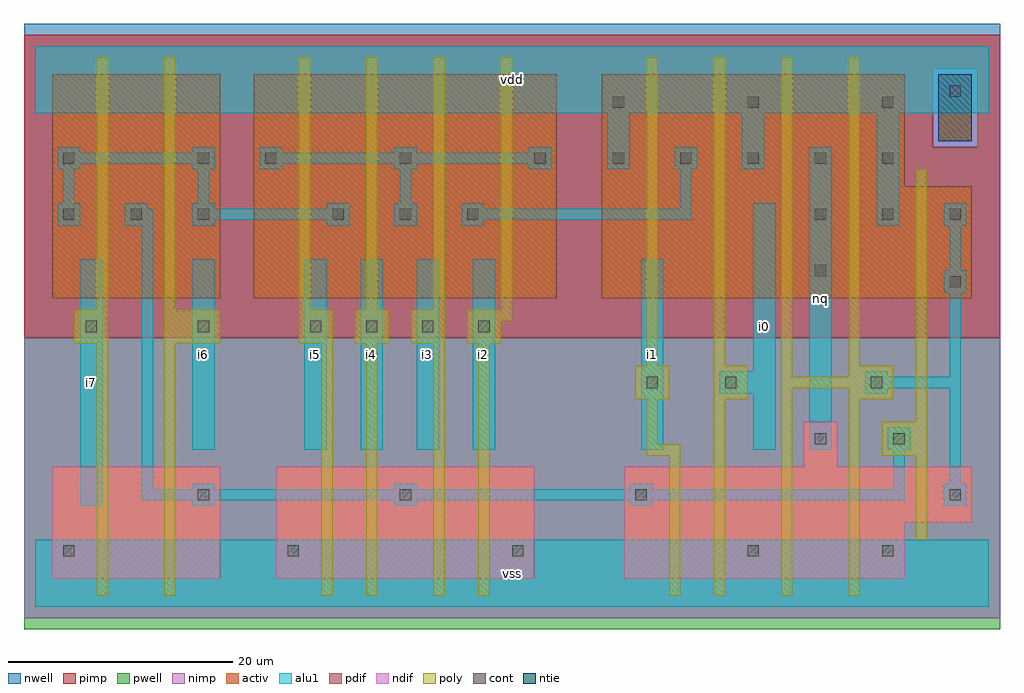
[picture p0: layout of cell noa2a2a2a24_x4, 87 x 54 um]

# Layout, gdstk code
import gdstk
lib = gdstk.Library(unit=1e-6, precision=1e-09)
def R(c, l, rs):  # rectangles x0, y0, x1, y1
    for r in rs: c.add(gdstk.rectangle(r[:2], r[2:], *l))
def A(c, l, x, y, w, h, nx, ny, dx, dy):  # array of equal rectangles
    R(c, l, [(x+i*dx, y+j*dy, x+i*dx+w, y+j*dy+h) for i in range(nx) for j in range(ny)])
ndif = (3, 0)
pdif = (4, 0)
ntie = (5, 0)
cont = (25, 0)
pwell = (41, 0)
nwell = (42, 0)
activ = (43, 0)
pimp = (44, 0)
nimp = (45, 0)
poly = (46, 0)
alu1 = (49, 0)

noa2a2a2a24_x4 = lib.new_cell('noa2a2a2a24_x4')
R(noa2a2a2a24_x4, ndif, [(1.5,2.5,16.5,12.5), (21.5,2.5,44.5,12.5), (52.5,2.5,77.5,7.5), (52.5,7.5,83.5,12.5), (68.5,12.5,71.5,16.5)])
R(noa2a2a2a24_x4, pdif, [(1.5,27.5,16.5,47.5), (19.5,27.5,46.5,47.5), (50.5,27.5,83.5,37.5), (50.5,37.5,77.5,47.5)])
R(noa2a2a2a24_x4, ntie, [(80.5,41.5,83.5,47.5)])
A(noa2a2a2a24_x4, cont, 2.5, 4.5, 1, 1, 3, 1, 20, 0)
A(noa2a2a2a24_x4, cont, 4.5, 24.5, 1, 1, 3, 1, 10, 0)
A(noa2a2a2a24_x4, cont, 29.5, 24.5, 1, 1, 3, 1, 5, 0)
A(noa2a2a2a24_x4, cont, 2.5, 34.5, 1, 1, 3, 1, 6, 0)
A(noa2a2a2a24_x4, cont, 26.5, 34.5, 1, 1, 3, 1, 6, 0)
A(noa2a2a2a24_x4, cont, 69.5, 34.5, 1, 1, 3, 1, 6, 0)
A(noa2a2a2a24_x4, cont, 20.5, 39.5, 1, 1, 3, 1, 12, 0)
A(noa2a2a2a24_x4, cont, 51.5, 39.5, 1, 1, 5, 1, 6, 0)
A(noa2a2a2a24_x4, cont, 51.5, 44.5, 1, 1, 3, 1, 12, 0)
R(noa2a2a2a24_x4, cont, [(63.5,4.5,64.5,5.5), (75.5,4.5,76.5,5.5), (14.5,9.5,15.5,10.5), (32.5,9.5,33.5,10.5), (53.5,9.5,54.5,10.5), (81.5,9.5,82.5,10.5), (69.5,14.5,70.5,15.5), (76.5,14.5,77.5,15.5), (54.5,19.5,55.5,20.5), (61.5,19.5,62.5,20.5), (74.5,19.5,75.5,20.5), (81.5,28.5,82.5,29.5), (69.5,29.5,70.5,30.5), (2.5,39.5,3.5,40.5), (14.5,39.5,15.5,40.5), (81.5,45.5,82.5,46.5)])
R(noa2a2a2a24_x4, pwell, [(-1,-2,86,24)])
R(noa2a2a2a24_x4, nwell, [(-1,24,86,52)])
R(noa2a2a2a24_x4, activ, [(1.5,2.5,16.5,12.5), (21.5,2.5,44.5,12.5), (52.5,2.5,77.5,7.5), (52.5,7.5,83.5,12.5), (68.5,12.5,71.5,16.5), (1.5,27.5,16.5,47.5), (19.5,27.5,46.5,47.5), (50.5,27.5,83.5,37.5), (50.5,37.5,77.5,47.5), (80.5,41.5,83.5,47.5)])
R(noa2a2a2a24_x4, pimp, [(-1,24,86,41), (-1,41,80,48), (84,41,86,48), (-1,48,86,51)])
R(noa2a2a2a24_x4, nimp, [(-1,-1,86,24), (80,41,84,48)])
A(noa2a2a2a24_x4, poly, 23.5, 23.5, 3, 3, 3, 1, 5, 0)
A(noa2a2a2a24_x4, poly, 23.5, 26.5, 1, 22.5, 4, 1, 6, 0)
R(noa2a2a2a24_x4, poly, [(5.5,1,6.5,23.5), (11.5,1,12.5,23.5), (25.5,1,26.5,23.5), (29.5,1,30.5,23.5), (35.5,1,36.5,23.5), (39.5,1,40.5,23.5), (56.5,1,57.5,13.5), (60.5,1,61.5,18.5), (66.5,1,67.5,19.5), (72.5,1,73.5,18.5), (78.5,6,79.5,13.5), (54.5,13.5,57.5,14.5), (75.5,13.5,79.5,16.5), (54.5,14.5,55.5,18.5), (78.5,16.5,79.5,39), (53.5,18.5,56.5,21.5), (60.5,18.5,63.5,21.5), (72.5,18.5,76.5,19.5), (66.5,19.5,76.5,20.5), (66.5,20.5,67.5,49), (72.5,20.5,76.5,21.5), (54.5,21.5,55.5,49), (60.5,21.5,61.5,49), (72.5,21.5,73.5,49), (3.5,23.5,6.5,26.5), (11.5,23.5,16.5,26.5), (38.5,23.5,41.5,25.5), (38.5,25.5,42.5,26.5), (5.5,26.5,6.5,49), (11.5,26.5,12.5,49)])
A(noa2a2a2a24_x4, alu1, 24, 14, 2, 17, 4, 1, 5, 0)
A(noa2a2a2a24_x4, alu1, 14, 34, 2, 0.5, 3, 2, 12, 1.5)
A(noa2a2a2a24_x4, alu1, 20, 39, 2, 0.5, 3, 2, 12, 1.5)
R(noa2a2a2a24_x4, alu1, [(0,0,85,6), (4,9,6,31), (14,9,16,9.5), (32,9,34,9.5), (53,9,55,9.5), (81,9,83,11), (9.5,9.5,77.5,10.5), (9.5,10.5,10.5,34), (14,10.5,16,11), (32,10.5,34,11), (53,10.5,55,11), (76.5,10.5,77.5,14), (81.5,11,82.5,19.5), (14,14,16,31), (54,14,56,31), (64,14,66,19), (69,14,71,41), (76,14,78,16), (61,19,66,21), (74,19,76,19.5), (74,19.5,82.5,20.5), (74,20.5,76,21), (81.5,20.5,82.5,28), (64,21,66,36), (81,28,83,30), (81.5,30,82.5,34), (2,34,4,36), (8,34,10.5,35.5), (32,34,34,36), (75,34,77,44), (81,34,83,36), (14,34.5,28,35.5), (38,34.5,58.5,35.5), (8,35.5,10,36), (57.5,35.5,58.5,39), (2.5,36,3.5,39), (14.5,36,15.5,39), (32.5,36,33.5,39), (2,39,4,39.5), (14,39,16,39.5), (51,39,53,44), (57,39,59,41), (63,39,65,44), (2,39.5,16,40.5), (20,39.5,46,40.5), (2,40.5,4,41), (14,40.5,16,41), (0,44,85,50)])
noa2a2a2a24_x4.add(gdstk.Label('i7', (5,20), layer=49, texttype=0))
noa2a2a2a24_x4.add(gdstk.Label('i5', (25,22.5), layer=49, texttype=0))
noa2a2a2a24_x4.add(gdstk.Label('i4', (30,22.5), layer=49, texttype=0))
noa2a2a2a24_x4.add(gdstk.Label('i6', (15,22.5), layer=49, texttype=0))
noa2a2a2a24_x4.add(gdstk.Label('vss', (42.5,3), layer=49, texttype=0))
noa2a2a2a24_x4.add(gdstk.Label('i2', (40,22.5), layer=49, texttype=0))
noa2a2a2a24_x4.add(gdstk.Label('i3', (35,22.5), layer=49, texttype=0))
noa2a2a2a24_x4.add(gdstk.Label('vdd', (42.5,47), layer=49, texttype=0))
noa2a2a2a24_x4.add(gdstk.Label('i1', (55,22.5), layer=49, texttype=0))
noa2a2a2a24_x4.add(gdstk.Label('i0', (65,25), layer=49, texttype=0))
noa2a2a2a24_x4.add(gdstk.Label('nq', (70,27.5), layer=49, texttype=0))

lib.write_gds('noa2a2a2a24_x4.gds')
